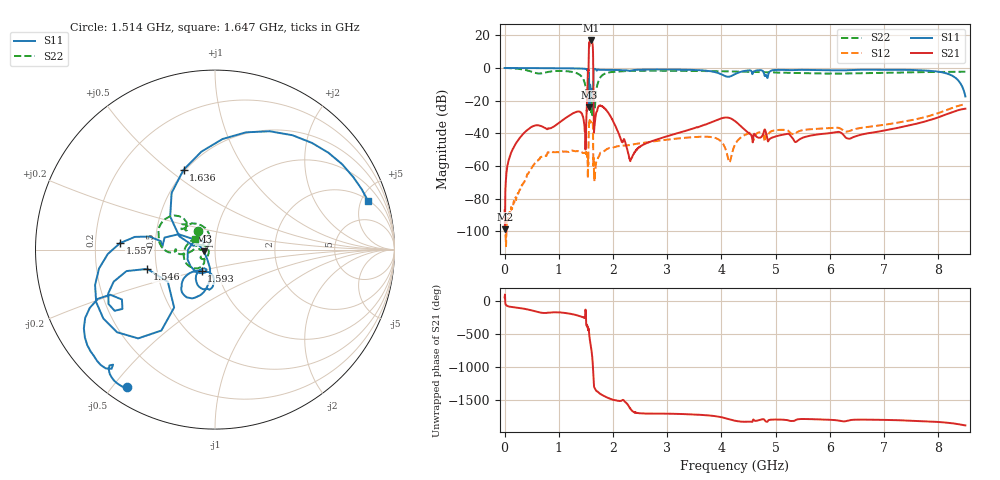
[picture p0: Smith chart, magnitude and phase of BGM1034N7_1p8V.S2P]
!Agilent Technologies,E5071C,MY46105553,A.09.30
!Date: Wed Jul 20 16:43:21 2011
!Data & Calibration Information:
!Freq	S11:SOLT2(ON)	S21:SOLT2(ON)	S12:SOLT2(ON)	S22:SOLT2(ON)
# Hz S dB R 50
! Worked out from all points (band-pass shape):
!   1600 points, 300 kHz to 8.5 GHz, reference 50 ohm
!   highest |S21| = 16.89 dB at 1.592 GHz (marker M1); lowest = -98.9 dB at 6.896 MHz (marker M2)
!   |S21| within 3 dB of the highest: 1.557109 GHz to 1.56152 GHz (4.41 MHz wide, 0.283 % of centre); 1.563 GHz to 1.625 GHz (62.43 MHz wide, 3.92 % of centre)
!   lowest |S11| = -24.1 dB at 1.565 GHz (marker M3), VSWR 1.13, Z = 44.2 - j0.833 ohm
!   |S11| at or under -10 dB: 1.56 GHz to 1.634 GHz (74.24 MHz wide, 4.65 % of centre); 8.42 GHz to end of sweep
!   |S22| runs from -28.9 to 0.0 dB; largest |S21 - S12| = 7
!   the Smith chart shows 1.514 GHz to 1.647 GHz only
!   S11 on the Smith chart (normalised r, x): 1.514 GHz: 0.06, -0.55; 1.546 GHz: 0.44, -0.11; 1.557 GHz: 0.31, +0.03; 1.593 GHz: 0.84, -0.20; 1.636 GHz: 0.49, +0.56; 1.647 GHz: 2.13, +5.75
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300000  -0.00 0.0  -87.27 60.8  -95.79 -8.1  -0.01 -0.0
6895902  0.00 -0.3  -98.89 103.4  -96.06 -115.7  -0.00 -1.5
1.419465e9  -0.34 -92.3  -27.79 126.3  -51.53 137.7  -5.17 148.5
1.514e9  -0.84 -122.6  -26.02 -12.4  -52.81 128.8  -17.03 131.7
1.546e9  -8.12 -164.1  -1.23 -79.7  -52.13 -88.0  -10.86 179.4
1.557e9  -5.51 176.1  13.81 -112.2  -34.87 -154.0  -10.57 140.0
1.565e9  -24.06 -171.4  15.82 -172.1  -32.68 153.0  -13.93 140.0
1.572e9  -11.49 -107.7  16.46 139.1  -32.17 108.6  -13.77 144.3
1.579e9  -10.32 -125.4  16.50 102.1  -32.46 74.4  -14.53 129.2
1.592e9  -16.43 -127.9  16.89 35.1  -32.90 7.4  -25.61 124.0
1.593e9  -17.07 -122.2  16.89 29.4  -32.91 1.8  -26.73 135.5
1.602e9  -13.32 -95.1  16.45 -20.8  -33.61 -52.1  -21.66 -179.7
1.611e9  -13.70 -120.2  16.14 -77.6  -33.29 -113.5  -22.48 160.6
1.621e9  -16.67 -116.9  15.03 -163.2  -32.83 162.9  -23.19 -137.9
1.628e9  -20.08 150.4  12.68 108.2  -34.59 83.6  -22.03 -150.8
1.636e9  -6.41 111.5  -2.50 -42.6  -57.17 13.1  -15.01 -154.0
1.647e9  -0.96 17.4  -39.02 165.4  -60.22 56.5  -17.80 152.1
2.835005e9  -0.88 -137.1  -43.52 96.4  -44.58 104.8  -1.66 -176.5
4.256166e9  -3.62 -163.4  -32.66 -12.5  -46.57 148.4  -2.14 159.5
5.670777e9  -1.20 138.0  -41.25 12.4  -37.43 44.7  -3.27 137.4
7.085389e9  -1.03 92.4  -37.79 0.3  -34.35 11.1  -2.90 115.8
8.5e9  -17.44 27.3  -24.93 -83.1  -22.22 -78.8  -2.28 103.6
